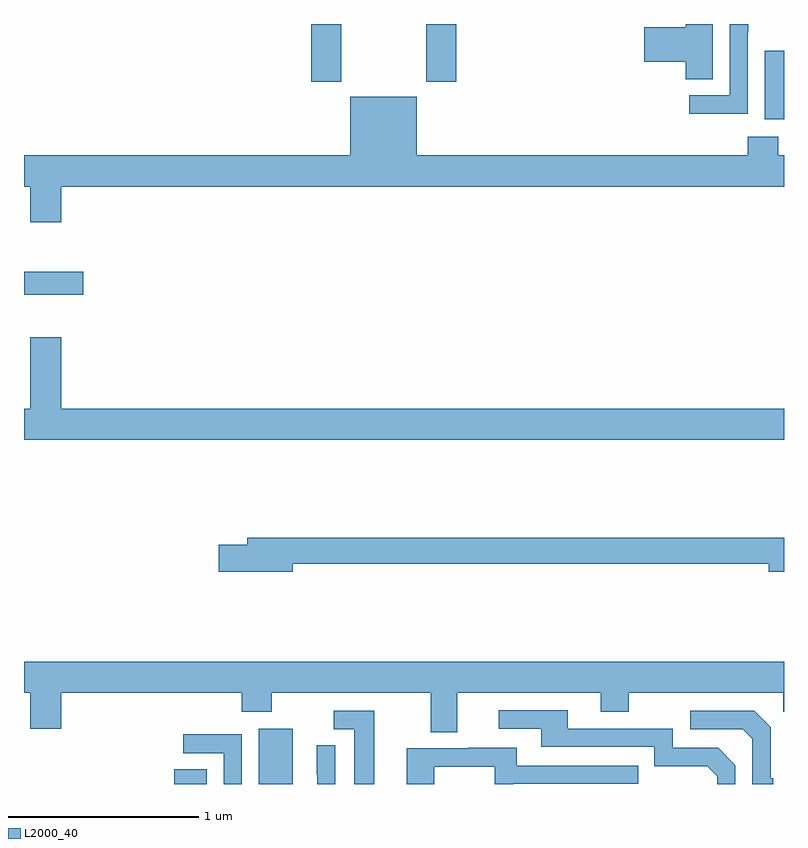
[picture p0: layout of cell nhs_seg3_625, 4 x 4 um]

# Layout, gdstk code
import gdstk
lib = gdstk.Library(unit=1e-6, precision=1e-09)
def R(c, l, rs):  # rectangles x0, y0, x1, y1
    for r in rs: c.add(gdstk.rectangle(r[:2], r[2:], *l))
def P(c, l, *ps):  # polygons
    for p in ps: c.add(gdstk.Polygon(p, *l))
L2000_40 = (2000, 40)

nhs_seg3_625 = lib.new_cell('nhs_seg3_625')
R(nhs_seg3_625, L2000_40, [(141.791,736.4,141.961,736.478), (142.235,736.4,142.414,736.69), (141,738.974,141.313,739.096), (144.899,739.898,145,740.259), (142.511,740.097,142.671,740.4), (143.116,740.097,143.276,740.4)])
P(nhs_seg3_625, L2000_40, [(144.625,740.4),(144.482,740.4),(144.482,740.384),(144.264,740.384),(144.264,740.201),(144.482,740.201),(144.482,740.11),(144.625,740.11)],
  [(144.81,740.356),(144.813,740.356),(144.813,740.4),(144.714,740.4),(144.714,740.025),(144.501,740.025),(144.501,739.927),(144.81,739.927)],
  [(141.196,739.544),(145,739.544),(145,739.708),(144.969,739.708),(144.969,739.807),(144.809,739.807),(144.809,739.708),(143.068,739.708),(143.068,740.017),(142.718,740.017),(142.718,739.708),(141,739.708),(141,739.544),(141.032,739.544),(141.032,739.356),(141.196,739.356)],
  [(145,738.376),(141.196,738.376),(141.196,738.751),(141.032,738.751),(141.032,738.376),(141,738.376),(141,738.212),(145,738.212)],
  [(142.414,737.56),(144.92,737.56),(144.92,737.518),(145,737.518),(145,737.696),(142.175,737.696),(142.175,737.66),(142.026,737.66),(142.026,737.518),(142.414,737.518)],
  [(143.281,736.88),(144.035,736.88),(144.035,736.781),(144.183,736.781),(144.183,736.88),(144.996,736.88),(144.996,736.781),(145,736.781),(145,737.044),(141,737.044),(141,736.88),(141.032,736.88),(141.032,736.692),(141.196,736.692),(141.196,736.88),(142.145,736.88),(142.145,736.781),(142.305,736.781),(142.305,736.88),(143.141,736.88),(143.141,736.672),(143.281,736.672)],
  [(144.744,736.5),(144.654,736.59),(144.414,736.59),(144.414,736.692),(143.863,736.692),(143.863,736.788),(143.499,736.788),(143.499,736.692),(143.723,736.692),(143.723,736.596),(144.318,736.596),(144.318,736.493),(144.595,736.493),(144.648,736.44),(144.648,736.4),(144.744,736.4)],
  [(142.843,736.785),(142.629,736.785),(142.629,736.689),(142.739,736.689),(142.739,736.4),(142.843,736.4)],
  [(144.943,736.429),(144.93,736.429),(144.93,736.698),(144.843,736.785),(144.507,736.785),(144.507,736.689),(144.783,736.689),(144.834,736.638),(144.834,736.4),(144.943,736.4)],
  [(142.146,736.662),(141.837,736.662),(141.837,736.563),(142.05,736.563),(142.05,736.4),(142.146,736.4)],
  [(142.638,736.604),(142.542,736.604),(142.542,736.45),(142.544,736.45),(142.544,736.4),(142.638,736.4)],
  [(143.16,736.491),(143.478,736.491),(143.478,736.4),(143.574,736.4),(143.574,736.401),(144.233,736.401),(144.233,736.497),(143.593,736.497),(143.593,736.591),(143.339,736.591),(143.339,736.587),(143.015,736.587),(143.015,736.4),(143.16,736.4)])

lib.write_gds('nhs_seg3_625.gds')
